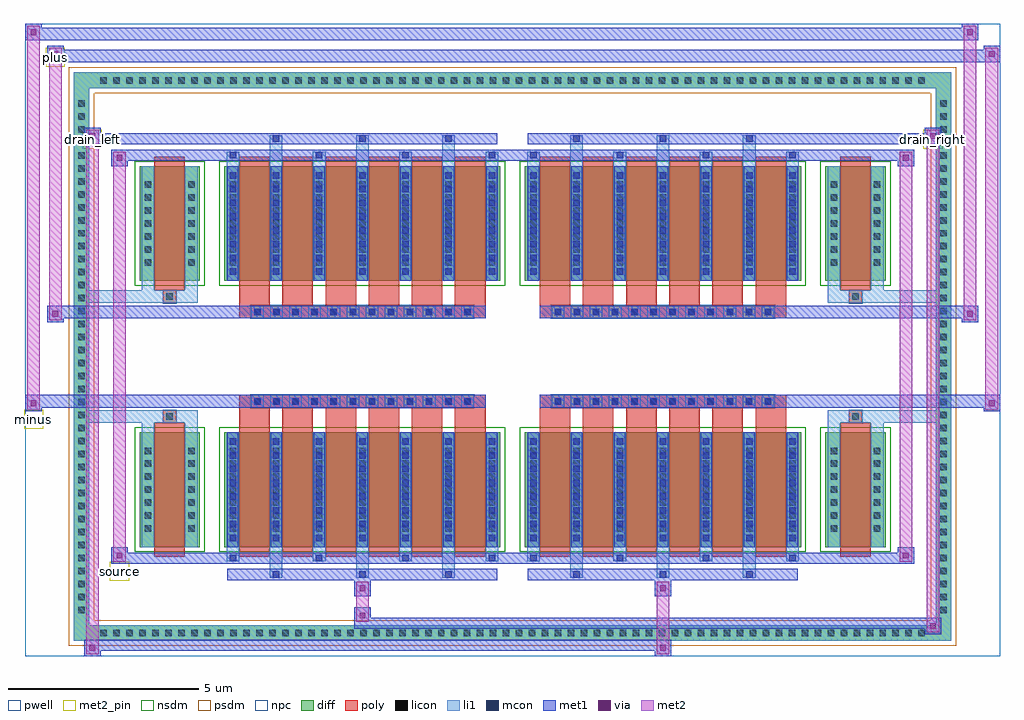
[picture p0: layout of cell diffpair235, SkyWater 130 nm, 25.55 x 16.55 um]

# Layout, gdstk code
import gdstk
lib = gdstk.Library(unit=1e-6, precision=5e-09)
def R(c, l, rs):  # rectangles x0, y0, x1, y1
    for r in rs: c.add(gdstk.rectangle(r[:2], r[2:], *l))
def A(c, l, x, y, w, h, nx, ny, dx, dy):  # array of equal rectangles
    R(c, l, [(x+i*dx, y+j*dy, x+i*dx+w, y+j*dy+h) for i in range(nx) for j in range(ny)])
def P(c, l, *ps):  # polygons
    for p in ps: c.add(gdstk.Polygon(p, *l))
pwell = (64, 44)
diff = (65, 20)
poly = (66, 20)
licon = (66, 44)
li1 = (67, 20)
mcon = (67, 44)
met1 = (68, 20)
via = (68, 44)
met2_pin = (69, 16)
met2 = (69, 20)
nsdm = (93, 44)
psdm = (94, 20)
npc = (95, 20)

diffpair235 = lib.new_cell('diffpair235')
R(diffpair235, pwell, [(-12.76,-7.84,12.76,8.71), (-10.08,-6.03,-0.01,-0.805), (0.01,-6.03,10.08,-0.805), (-10.08,0.805,-0.01,6.03), (0.01,0.805,10.08,6.03)])
A(diffpair235, diff, -10.915, -7.44, 0.41, 0.41, 64, 2, 0.34, 14.47)
A(diffpair235, diff, -11.49, -6.835, 0.41, 0.41, 1, 40, 0, 0.34)
A(diffpair235, diff, 11.08, -6.835, 0.41, 0.41, 1, 40, 0, 0.34)
R(diffpair235, diff, [(-10.915,-7.44,10.915,-7.03), (-11.49,-6.835,-11.08,6.835), (11.08,-6.835,11.49,6.835), (-9.77,-4.985,-8.19,-1.985), (-7.55,-4.985,-0.32,-1.985), (0.32,-4.985,7.55,-1.985), (8.19,-4.985,9.77,-1.985), (-9.77,1.985,-8.19,4.985), (-7.55,1.985,-0.32,4.985), (0.32,1.985,7.55,4.985), (8.19,1.985,9.77,4.985), (-10.915,7.03,10.915,7.44)])
P(diffpair235, diff, [(11.49,7.44),(-11.49,7.44),(-11.49,-7.03),(-11.08,-7.03),(-11.08,7.03),(11.08,7.03),(11.08,-7.03),(-11.08,-7.03),(-11.49,-7.03),(-11.49,-7.44),(11.49,-7.44)])
A(diffpair235, poly, -7.16, -5.235, 0.8, 3.5, 6, 2, 1.13, 6.97)
A(diffpair235, poly, 0.71, -5.235, 0.8, 3.5, 6, 2, 1.13, 6.97)
A(diffpair235, poly, -7.16, -1.735, 0.8, 0.4, 6, 2, 1.13, 3.07)
A(diffpair235, poly, 0.71, -1.735, 0.8, 0.4, 6, 2, 1.13, 3.07)
A(diffpair235, poly, -6.85, -1.335, 0.33, 0.33, 12, 2, 0.5, 2.34)
A(diffpair235, poly, 1.02, -1.335, 0.33, 0.33, 12, 2, 0.5, 2.34)
R(diffpair235, poly, [(-9.38,-5.235,-8.58,-1.735), (8.58,-5.235,9.38,-1.735), (-9.145,-1.735,-8.815,-1.405), (-9.145,-1.735,-8.815,-1.405), (8.815,-1.735,9.145,-1.405), (8.815,-1.735,9.145,-1.405), (-7.16,-1.335,-0.71,-1.005), (0.71,-1.335,7.16,-1.005), (-7.16,1.005,-0.71,1.335), (0.71,1.005,7.16,1.335), (-9.145,1.405,-8.815,1.735), (-9.145,1.405,-8.815,1.735), (8.815,1.405,9.145,1.735), (8.815,1.405,9.145,1.735), (-9.38,1.735,-8.58,5.235), (8.58,1.735,9.38,5.235)])
A(diffpair235, licon, -10.795, -7.32, 0.17, 0.17, 64, 2, 0.34, 14.47)
A(diffpair235, licon, -11.37, -6.715, 0.17, 0.17, 1, 40, 0, 0.34)
A(diffpair235, licon, 11.2, -6.715, 0.17, 0.17, 1, 40, 0, 0.34)
A(diffpair235, licon, -9.63, -4.59, 0.17, 0.17, 1, 7, 0, 0.34)
A(diffpair235, licon, -8.5, -4.59, 0.17, 0.17, 1, 7, 0, 0.34)
A(diffpair235, licon, -7.41, -4.59, 0.17, 0.17, 7, 7, 1.13, 0.34)
A(diffpair235, licon, 0.46, -4.59, 0.17, 0.17, 7, 7, 1.13, 0.34)
A(diffpair235, licon, 8.33, -4.59, 0.17, 0.17, 1, 7, 0, 0.34)
A(diffpair235, licon, 9.46, -4.59, 0.17, 0.17, 1, 7, 0, 0.34)
A(diffpair235, licon, -6.77, -1.255, 0.17, 0.17, 12, 2, 0.5, 2.34)
A(diffpair235, licon, 1.1, -1.255, 0.17, 0.17, 12, 2, 0.5, 2.34)
A(diffpair235, licon, -9.63, 2.38, 0.17, 0.17, 1, 7, 0, 0.34)
A(diffpair235, licon, -8.5, 2.38, 0.17, 0.17, 1, 7, 0, 0.34)
A(diffpair235, licon, -7.41, 2.38, 0.17, 0.17, 7, 7, 1.13, 0.34)
A(diffpair235, licon, 0.46, 2.38, 0.17, 0.17, 7, 7, 1.13, 0.34)
A(diffpair235, licon, 8.33, 2.38, 0.17, 0.17, 1, 7, 0, 0.34)
A(diffpair235, licon, 9.46, 2.38, 0.17, 0.17, 1, 7, 0, 0.34)
R(diffpair235, licon, [(-9.065,-1.655,-8.895,-1.485), (8.895,-1.655,9.065,-1.485), (-9.065,1.485,-8.895,1.655), (8.895,1.485,9.065,1.655)])
A(diffpair235, li1, -10.875, -7.4, 0.33, 0.33, 64, 2, 0.34, 14.47)
A(diffpair235, li1, -11.45, -6.795, 0.33, 0.33, 1, 40, 0, 0.34)
A(diffpair235, li1, 11.12, -6.795, 0.33, 0.33, 1, 40, 0, 0.34)
A(diffpair235, li1, -6.36, -5.79, 0.33, 0.805, 3, 2, 2.26, 10.775)
A(diffpair235, li1, -6.28, -5.79, 0.17, 0.17, 3, 2, 2.26, 11.41)
A(diffpair235, li1, 1.51, -5.79, 0.33, 0.805, 3, 2, 2.26, 10.775)
A(diffpair235, li1, 1.59, -5.79, 0.17, 0.17, 3, 2, 2.26, 11.41)
A(diffpair235, li1, -7.49, -5.36, 0.33, 0.375, 4, 2, 2.26, 10.345)
A(diffpair235, li1, -7.41, -5.36, 0.17, 0.17, 4, 2, 2.26, 10.55)
A(diffpair235, li1, 0.38, -5.36, 0.33, 0.375, 4, 2, 2.26, 10.345)
A(diffpair235, li1, 0.46, -5.36, 0.17, 0.17, 4, 2, 2.26, 10.55)
A(diffpair235, li1, -7.49, -4.985, 0.33, 3, 7, 2, 1.13, 6.97)
A(diffpair235, li1, 0.38, -4.985, 0.33, 3, 7, 2, 1.13, 6.97)
A(diffpair235, li1, -7.41, -4.83, 0.17, 0.17, 7, 8, 1.13, 0.36)
A(diffpair235, li1, -7.41, -4.83, 0.17, 2.69, 7, 2, 1.13, 6.97)
A(diffpair235, li1, 0.46, -4.83, 0.17, 0.17, 7, 8, 1.13, 0.36)
A(diffpair235, li1, 0.46, -4.83, 0.17, 2.69, 7, 2, 1.13, 6.97)
A(diffpair235, li1, -9.71, -4.67, 0.33, 0.33, 1, 7, 0, 0.34)
A(diffpair235, li1, -8.58, -4.67, 0.33, 0.33, 1, 7, 0, 0.34)
A(diffpair235, li1, -7.49, -4.67, 0.33, 0.33, 7, 7, 1.13, 0.34)
A(diffpair235, li1, 0.38, -4.67, 0.33, 0.33, 7, 7, 1.13, 0.34)
A(diffpair235, li1, 8.25, -4.67, 0.33, 0.33, 1, 7, 0, 0.34)
A(diffpair235, li1, 9.38, -4.67, 0.33, 0.33, 1, 7, 0, 0.34)
A(diffpair235, li1, -6.85, -1.335, 0.33, 0.33, 12, 2, 0.5, 2.34)
A(diffpair235, li1, 1.02, -1.335, 0.33, 0.33, 12, 2, 0.5, 2.34)
A(diffpair235, li1, -7.41, 2.14, 0.17, 0.17, 7, 8, 1.13, 0.36)
A(diffpair235, li1, 0.46, 2.14, 0.17, 0.17, 7, 8, 1.13, 0.36)
A(diffpair235, li1, -9.71, 2.3, 0.33, 0.33, 1, 7, 0, 0.34)
A(diffpair235, li1, -8.58, 2.3, 0.33, 0.33, 1, 7, 0, 0.34)
A(diffpair235, li1, -7.49, 2.3, 0.33, 0.33, 7, 7, 1.13, 0.34)
A(diffpair235, li1, 0.38, 2.3, 0.33, 0.33, 7, 7, 1.13, 0.34)
A(diffpair235, li1, 8.25, 2.3, 0.33, 0.33, 1, 7, 0, 0.34)
A(diffpair235, li1, 9.38, 2.3, 0.33, 0.33, 1, 7, 0, 0.34)
R(diffpair235, li1, [(-11.49,-7.44,-11.08,-7.03), (-11.49,-7.44,-11.08,-7.03), (-11.08,-7.44,11.08,-7.03), (11.08,-7.44,11.49,-7.03), (11.08,-7.44,11.49,-7.03), (-11.49,-7.03,-11.08,7.03), (11.08,-7.03,11.49,7.03), (-9.71,-4.985,-9.38,-1.985), (-8.58,-4.985,-8.25,-1.985), (8.25,-4.985,8.58,-1.985), (9.38,-4.985,9.71,-1.985), (-9.71,-1.985,-9.38,-1.405), (-8.58,-1.985,-8.25,-1.405), (8.25,-1.985,8.58,-1.405), (9.38,-1.985,9.71,-1.405), (-11.49,-1.735,-9.145,-1.405), (-9.71,-1.735,-9.145,-1.405), (-9.145,-1.735,-8.815,-1.405), (-8.815,-1.735,-8.25,-1.405), (8.25,-1.735,8.815,-1.405), (8.815,-1.735,9.145,-1.405), (8.815,-1.735,11.49,-1.405), (9.145,-1.735,9.71,-1.405), (-11.49,1.405,-9.145,1.735), (-9.71,1.405,-9.145,1.735), (-9.71,1.405,-9.38,1.985), (-9.145,1.405,-8.815,1.735), (-8.815,1.405,-8.25,1.735), (-8.58,1.405,-8.25,1.985), (8.25,1.405,8.815,1.735), (8.25,1.405,8.58,1.985), (8.815,1.405,9.145,1.735), (8.815,1.405,11.49,1.735), (9.145,1.405,9.71,1.735), (9.38,1.405,9.71,1.985), (-9.71,1.985,-9.38,4.985), (-8.58,1.985,-8.25,4.985), (8.25,1.985,8.58,4.985), (9.38,1.985,9.71,4.985), (-11.49,7.03,-11.08,7.44), (-11.49,7.03,-11.08,7.44), (-11.08,7.03,11.08,7.44), (11.08,7.03,11.49,7.44), (11.08,7.03,11.49,7.44)])
A(diffpair235, mcon, -6.28, -5.79, 0.17, 0.17, 3, 2, 2.26, 11.41)
A(diffpair235, mcon, 1.59, -5.79, 0.17, 0.17, 3, 2, 2.26, 11.41)
A(diffpair235, mcon, -7.41, -5.36, 0.17, 0.17, 4, 2, 2.26, 10.55)
A(diffpair235, mcon, 0.46, -5.36, 0.17, 0.17, 4, 2, 2.26, 10.55)
A(diffpair235, mcon, -7.41, -4.83, 0.17, 0.17, 7, 8, 1.13, 0.36)
A(diffpair235, mcon, 0.46, -4.83, 0.17, 0.17, 7, 8, 1.13, 0.36)
A(diffpair235, mcon, -6.77, -1.255, 0.17, 0.17, 12, 2, 0.5, 2.34)
A(diffpair235, mcon, 1.1, -1.255, 0.17, 0.17, 12, 2, 0.5, 2.34)
A(diffpair235, mcon, -7.41, 2.14, 0.17, 0.17, 7, 8, 1.13, 0.36)
A(diffpair235, mcon, 0.46, 2.14, 0.17, 0.17, 7, 8, 1.13, 0.36)
A(diffpair235, met1, -6.34, -5.85, 0.29, 0.29, 3, 2, 2.26, 11.41)
A(diffpair235, met1, 1.53, -5.85, 0.29, 0.29, 3, 2, 2.26, 11.41)
A(diffpair235, met1, -7.47, -5.42, 0.29, 0.29, 4, 2, 2.26, 10.55)
A(diffpair235, met1, 0.4, -5.42, 0.29, 0.29, 4, 2, 2.26, 10.55)
A(diffpair235, met1, -7.47, -4.985, 0.29, 3, 7, 2, 1.13, 6.97)
A(diffpair235, met1, 0.4, -4.985, 0.29, 3, 7, 2, 1.13, 6.97)
A(diffpair235, met1, -7.47, -4.89, 0.29, 0.29, 7, 8, 1.13, 0.36)
A(diffpair235, met1, 0.4, -4.89, 0.29, 0.29, 7, 8, 1.13, 0.36)
A(diffpair235, met1, -6.83, -1.315, 0.29, 0.29, 12, 2, 0.5, 2.34)
A(diffpair235, met1, 1.04, -1.315, 0.29, 0.29, 12, 2, 0.5, 2.34)
A(diffpair235, met1, -7.47, 2.08, 0.29, 0.29, 7, 8, 1.13, 0.36)
A(diffpair235, met1, 0.4, 2.08, 0.29, 0.29, 7, 8, 1.13, 0.36)
R(diffpair235, met1, [(-11.22,-7.84,-10.79,-7.41), (3.72,-7.84,4.15,-7.41), (-11.22,-7.7,4.15,-7.41), (10.79,-7.27,11.22,-6.84), (-4.15,-7.13,11.22,-6.84), (-4.15,-6.99,-3.72,-6.56), (-4.15,-6.28,-3.72,-5.85), (3.72,-6.28,4.15,-5.85), (-7.47,-5.85,-0.4,-5.56), (0.4,-5.85,7.47,-5.56), (-10.51,-5.42,-10.08,-4.99), (-10.51,-5.42,-7.47,-5.13), (-7.47,-5.42,-0.4,-5.13), (-0.4,-5.42,0.4,-5.13), (0.4,-5.42,7.47,-5.13), (7.47,-5.42,10.51,-5.13), (10.08,-5.42,10.51,-4.99), (-12.76,-1.435,-12.33,-1.005), (12.33,-1.435,12.76,-1.005), (-12.76,-1.335,-0.71,-1.005), (-7.16,-1.335,-0.71,-1.005), (0.71,-1.335,7.16,-1.005), (0.71,-1.335,12.76,-1.005), (-12.19,0.905,-11.76,1.335), (11.76,0.905,12.19,1.335), (-12.19,1.005,-7.16,1.335), (-7.16,1.005,-0.71,1.335), (0.71,1.005,7.16,1.335), (7.16,1.005,12.19,1.335), (-10.51,4.99,-10.08,5.42), (10.08,4.99,10.51,5.42), (-10.51,5.13,-7.47,5.42), (-7.47,5.13,-0.4,5.42), (-0.4,5.13,0.4,5.42), (0.4,5.13,7.47,5.42), (7.47,5.13,10.51,5.42), (-11.22,5.56,-10.79,5.99), (-11.22,5.56,-7.47,5.85), (-7.47,5.56,-0.4,5.85), (0.4,5.56,7.47,5.85), (7.47,5.56,11.22,5.85), (10.79,5.56,11.22,5.99), (-12.19,7.71,-11.76,8.14), (-12.19,7.71,-10.08,8.04), (-10.08,7.71,10.08,8.04), (10.08,7.71,12.76,8.04), (12.33,7.71,12.76,8.14), (-12.76,8.28,-12.33,8.71), (-12.76,8.28,-10.08,8.61), (-10.08,8.28,10.08,8.61), (10.08,8.28,12.19,8.61), (11.76,8.28,12.19,8.71)])
R(diffpair235, via, [(-11.08,-7.7,-10.93,-7.55), (3.86,-7.7,4.01,-7.55), (10.93,-7.13,11.08,-6.98), (-4.01,-6.85,-3.86,-6.7), (-4.01,-6.14,-3.86,-5.99), (3.86,-6.14,4.01,-5.99), (-10.37,-5.28,-10.22,-5.13), (10.22,-5.28,10.37,-5.13), (-12.62,-1.295,-12.47,-1.145), (12.47,-1.295,12.62,-1.145), (-12.05,1.045,-11.9,1.195), (11.9,1.045,12.05,1.195), (-10.37,5.13,-10.22,5.28), (10.22,5.13,10.37,5.28), (-11.08,5.7,-10.93,5.85), (10.93,5.7,11.08,5.85), (-12.05,7.85,-11.9,8), (12.47,7.85,12.62,8), (-12.62,8.42,-12.47,8.57), (11.9,8.42,12.05,8.57)])
R(diffpair235, met2_pin, [(-10.545,-5.87,-10.045,-5.37), (-12.795,-1.885,-12.295,-1.385), (-11.255,5.44,-10.755,5.94), (10.755,5.44,11.255,5.94), (-12.225,7.59,-11.725,8.09)])
R(diffpair235, met2, [(-11.17,-7.79,-10.84,-7.46), (-11.17,-7.79,-10.84,5.94), (3.77,-7.79,4.1,-7.46), (3.77,-7.46,4.1,-6.23), (10.84,-7.22,11.17,-6.89), (10.84,-7.22,11.17,5.94), (-4.1,-6.94,-3.77,-6.61), (-4.1,-6.61,-3.77,-6.23), (-4.1,-6.23,-3.77,-5.9), (3.77,-6.23,4.1,-5.9), (-10.46,-5.37,-10.13,-5.04), (-10.46,-5.37,-10.13,5.37), (10.13,-5.37,10.46,-5.04), (10.13,-5.37,10.46,5.37), (-12.71,-1.385,-12.38,-1.055), (-12.71,-1.385,-12.38,8.66), (12.38,-1.385,12.71,-1.055), (12.38,-1.385,12.71,8.09), (-12.14,0.955,-11.81,1.285), (-12.14,0.955,-11.81,8.09), (11.81,0.955,12.14,1.285), (11.81,0.955,12.14,8.66), (-10.46,5.04,-10.13,5.37), (10.13,5.04,10.46,5.37), (-11.17,5.61,-10.84,5.94), (10.84,5.61,11.17,5.94), (-12.14,7.76,-11.81,8.09), (12.38,7.76,12.71,8.09), (-12.71,8.33,-12.38,8.66), (11.81,8.33,12.14,8.66)])
P(diffpair235, met2, [(12.71,-1.385),(12.71,-1.385),(12.71,-1.055),(12.71,-1.055)],
  [(12.71,7.76),(12.71,7.76),(12.71,8.09),(12.71,8.09)],
  [(-12.38,-1.385),(-12.38,-1.385),(-12.38,-1.055),(-12.38,-1.055)],
  [(-12.38,8.33),(-12.38,8.33),(-12.38,8.66),(-12.38,8.66)],
  [(12.14,0.955),(12.14,0.955),(12.14,1.285),(12.14,1.285)],
  [(12.14,8.33),(12.14,8.33),(12.14,8.66),(12.14,8.66)],
  [(-11.81,0.955),(-11.81,0.955),(-11.81,1.285),(-11.81,1.285)],
  [(-11.81,7.76),(-11.81,7.76),(-11.81,8.09),(-11.81,8.09)],
  [(-10.84,-7.79),(-10.84,-7.79),(-10.84,-7.46),(-10.84,-7.46)],
  [(-10.84,5.61),(-10.84,5.61),(-10.84,5.94),(-10.84,5.94)],
  [(11.17,-7.22),(11.17,-7.22),(11.17,-6.89),(11.17,-6.89)],
  [(11.17,5.61),(11.17,5.61),(11.17,5.94),(11.17,5.94)],
  [(-10.13,-5.37),(-10.13,-5.37),(-10.13,-5.04),(-10.13,-5.04)],
  [(-10.13,5.04),(-10.13,5.04),(-10.13,5.37),(-10.13,5.37)],
  [(10.46,-5.37),(10.46,-5.37),(10.46,-5.04),(10.46,-5.04)],
  [(10.46,5.04),(10.46,5.04),(10.46,5.37),(10.46,5.37)])
R(diffpair235, nsdm, [(-9.9,-5.115,-8.06,-1.855), (-7.68,-5.115,-0.19,-1.855), (0.19,-5.115,7.68,-1.855), (8.06,-5.115,9.9,-1.855), (-9.9,1.855,-8.06,5.115), (-7.68,1.855,-0.19,5.115), (0.19,1.855,7.68,5.115), (8.06,1.855,9.9,5.115)])
P(diffpair235, psdm, [(11.62,7.57),(-11.62,7.57),(-11.62,-6.9),(-10.95,-6.9),(-10.95,6.9),(10.95,6.9),(10.95,-6.9),(-10.95,-6.9),(-11.62,-6.9),(-11.62,-7.57),(11.62,-7.57)])
A(diffpair235, npc, -6.87, -1.355, 0.37, 0.37, 12, 2, 0.5, 2.34)
A(diffpair235, npc, 1, -1.355, 0.37, 0.37, 12, 2, 0.5, 2.34)
R(diffpair235, npc, [(-9.165,-1.755,-8.795,-1.385), (8.795,-1.755,9.165,-1.385), (-6.87,-1.355,-6,-0.985), (-6.87,-1.355,-6,-0.985), (-6.37,-1.355,-5.5,-0.985), (-6.37,-1.355,-5.5,-0.985), (-5.87,-1.355,-5,-0.985), (-5.87,-1.355,-5,-0.985), (-5.37,-1.355,-4.5,-0.985), (-5.37,-1.355,-4.5,-0.985), (-4.87,-1.355,-4,-0.985), (-4.87,-1.355,-4,-0.985), (-4.37,-1.355,-3.5,-0.985), (-4.37,-1.355,-3.5,-0.985), (-3.87,-1.355,-3,-0.985), (-3.87,-1.355,-3,-0.985), (-3.37,-1.355,-2.5,-0.985), (-3.37,-1.355,-2.5,-0.985), (-2.87,-1.355,-2,-0.985), (-2.87,-1.355,-2,-0.985), (-2.37,-1.355,-1.5,-0.985), (-2.37,-1.355,-1.5,-0.985), (-1.87,-1.355,-1,-0.985), (-1.87,-1.355,-1,-0.985), (1,-1.355,1.87,-0.985), (1,-1.355,1.87,-0.985), (1.5,-1.355,2.37,-0.985), (1.5,-1.355,2.37,-0.985), (2,-1.355,2.87,-0.985), (2,-1.355,2.87,-0.985), (2.5,-1.355,3.37,-0.985), (2.5,-1.355,3.37,-0.985), (3,-1.355,3.87,-0.985), (3,-1.355,3.87,-0.985), (3.5,-1.355,4.37,-0.985), (3.5,-1.355,4.37,-0.985), (4,-1.355,4.87,-0.985), (4,-1.355,4.87,-0.985), (4.5,-1.355,5.37,-0.985), (4.5,-1.355,5.37,-0.985), (5,-1.355,5.87,-0.985), (5,-1.355,5.87,-0.985), (5.5,-1.355,6.37,-0.985), (5.5,-1.355,6.37,-0.985), (6,-1.355,6.87,-0.985), (6,-1.355,6.87,-0.985), (-6.87,0.985,-6,1.355), (-6.87,0.985,-6,1.355), (-6.37,0.985,-5.5,1.355), (-6.37,0.985,-5.5,1.355), (-5.87,0.985,-5,1.355), (-5.87,0.985,-5,1.355), (-5.37,0.985,-4.5,1.355), (-5.37,0.985,-4.5,1.355), (-4.87,0.985,-4,1.355), (-4.87,0.985,-4,1.355), (-4.37,0.985,-3.5,1.355), (-4.37,0.985,-3.5,1.355), (-3.87,0.985,-3,1.355), (-3.87,0.985,-3,1.355), (-3.37,0.985,-2.5,1.355), (-3.37,0.985,-2.5,1.355), (-2.87,0.985,-2,1.355), (-2.87,0.985,-2,1.355), (-2.37,0.985,-1.5,1.355), (-2.37,0.985,-1.5,1.355), (-1.87,0.985,-1,1.355), (-1.87,0.985,-1,1.355), (1,0.985,1.87,1.355), (1,0.985,1.87,1.355), (1.5,0.985,2.37,1.355), (1.5,0.985,2.37,1.355), (2,0.985,2.87,1.355), (2,0.985,2.87,1.355), (2.5,0.985,3.37,1.355), (2.5,0.985,3.37,1.355), (3,0.985,3.87,1.355), (3,0.985,3.87,1.355), (3.5,0.985,4.37,1.355), (3.5,0.985,4.37,1.355), (4,0.985,4.87,1.355), (4,0.985,4.87,1.355), (4.5,0.985,5.37,1.355), (4.5,0.985,5.37,1.355), (5,0.985,5.87,1.355), (5,0.985,5.87,1.355), (5.5,0.985,6.37,1.355), (5.5,0.985,6.37,1.355), (6,0.985,6.87,1.355), (6,0.985,6.87,1.355), (-9.165,1.385,-8.795,1.755), (8.795,1.385,9.165,1.755)])
diffpair235.add(gdstk.Label('minus', (-12.545,-1.635), layer=69, texttype=5))
diffpair235.add(gdstk.Label('drain_right', (11.005,5.69), layer=69, texttype=5))
diffpair235.add(gdstk.Label('drain_left', (-11.005,5.69), layer=69, texttype=5))
diffpair235.add(gdstk.Label('source', (-10.295,-5.62), layer=69, texttype=5))
diffpair235.add(gdstk.Label('plus', (-11.975,7.84), layer=69, texttype=5))

lib.write_gds('diffpair235.gds')
